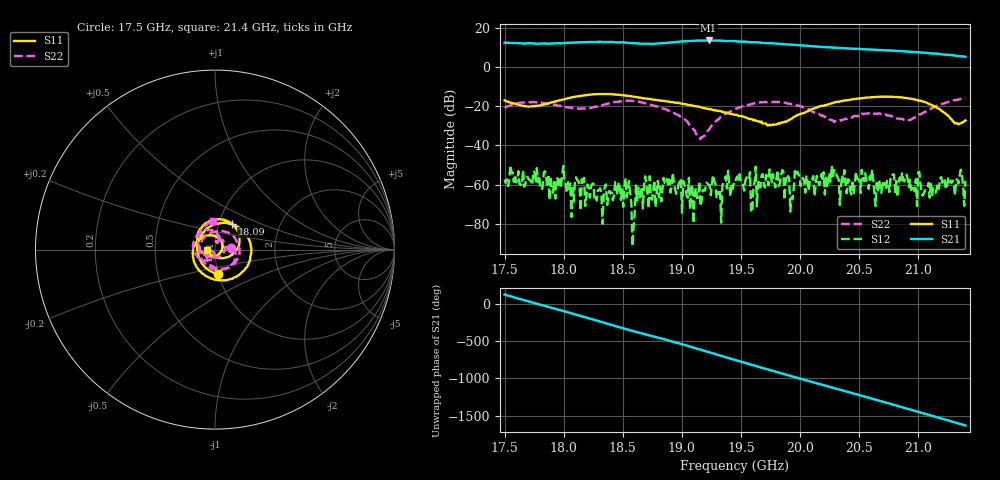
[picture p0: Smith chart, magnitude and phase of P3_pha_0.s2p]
!Created with skrf (http://scikit-rf.org).
# GHz S RI R 50.0
!freq ReS11 ImS11 ReS21 ImS21 ReS12 ImS12 ReS22 ImS22
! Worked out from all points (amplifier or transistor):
!   401 points, 17.5 GHz to 21.4 GHz, reference 50 ohm
!   highest |S21| = 13.4 dB at 19.23 GHz (marker M1)
!   |S21| within 3 dB of that: start of sweep to 20.13 GHz
!   unconditionally stable (mu >= 1): start of sweep to end of sweep
!   at 18.14 GHz: K = 523.65, MAG = 12.7 dB, |S12| = -73.2 dB
!   at 19.45 GHz: K = 100.69, MAG = 13.1 dB, |S12| = -59.2 dB
!   at 21.4 GHz: K = 213.31, MAG = 5.3 dB, |S12| = -58.0 dB
!   S11 on the Smith chart (normalised r, x): 17.5 GHz: 0.99, -0.28; 18.09 GHz: 1.15, +0.34; 21.4 GHz: 0.92, -0.01
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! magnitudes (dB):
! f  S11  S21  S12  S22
! 17.5 GHz  -17.2  12.3  -57.4  -20.9
! 17.99 GHz  -16.7  12.0  -54.6  -20.1
! 18.09 GHz  -15.3  12.3  -68.5  -20.8
! 18.15 GHz  -14.8  12.5  -57.2  -21.2
! 18.53 GHz  -14.7  12.2  -66.5  -17.2
! 18.58 GHz  -15.2  12.1  -91.3  -17.4
! 18.68 GHz  -16.0  11.8  -60.5  -18.3
! 18.81 GHz  -17.0  11.9  -66.4  -20.6
! 18.91 GHz  -17.9  12.5  -60.7  -23.1
! 19.12 GHz  -20.1  13.3  -61.8  -34.1
! 19.23 GHz  -21.4  13.4  -60.1  -32.2
! 19.31 GHz  -22.5  13.4  -65.0  -26.8
! 19.37 GHz  -23.4  13.1  -55.8  -23.8
! 19.45 GHz  -24.4  13.0  -59.2  -21.6
! 19.56 GHz  -26.1  12.7  -57.1  -19.4
! 19.6 GHz  -26.8  12.5  -73.9  -18.8
! 19.74 GHz  -29.4  12.1  -52.2  -17.8
! 19.93 GHz  -26.4  11.3  -66.6  -19.0
! 19.98 GHz  -24.6  11.1  -53.3  -19.8
! 20.1 GHz  -21.5  10.5  -57.1  -22.8
! 20.76 GHz  -15.2  8.3  -63.7  -25.0
! 21.4 GHz  -27.3  5.1  -58.0  -16.0
